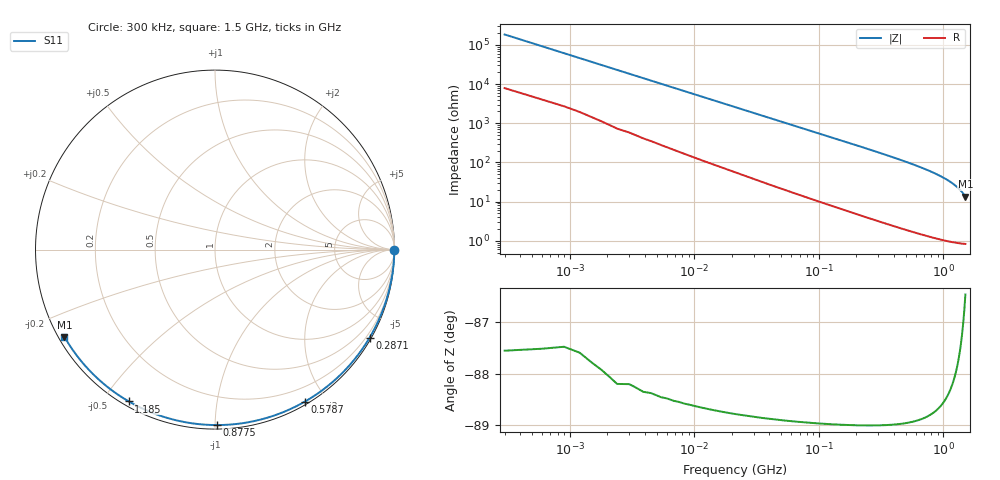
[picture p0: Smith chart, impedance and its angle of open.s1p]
! TOUCHSTONE file generated by CST MICROWAVE STUDIO
! Date and time: Sun Oct 12 17:58:32 2025
! Project name: calkit_sim.cst
! Parameters = {Rgap=0.9; ceq=6.5e-14; cu_t=0.035; dut_x=83.3333; k=7.07; leq=1.1e-09; line_gap=0.9; line_w=2.5; match_x=66.6667; open_x=16.6667; pad_g=1; pad_x=1.45; pad_z=0.9; ref_1=23.3333; ref_2=16.6667; res_h=0.32; res_len=1; res_w=0.5; short_x=33.3333; sus_l=100; sus_t=1.6; sus_w=40; thru_x=50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
! Header version: 2015
! Port assignment regex: !\s*Touchstone port\s*([0-9]+)\s*=\s*CST MWS port\s*([0-9]+)\s*\(\"(.*)\"\)(\s*mode\s*([0-9]+))?.*
! Touchstone port assignment:
! Touchstone port 1 = CST MWS port 1 ("")
# GHz S DB R 50
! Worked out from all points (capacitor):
!   5000 points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, 300 kHz to 1.5 GHz, reference 50 ohm
!   read as one part to ground: C = 2.87 pF near 7.8 MHz
!   lowest |Z| = 13.5 ohm at 1.5 GHz (marker M1)
!   S11 on the Smith chart (normalised r, x): 300 kHz: open; 287.1 MHz: 0.07, -3.78; 578.7 MHz: 0.03, -1.75; 877.5 MHz: 0.02, -1.01; 1.185 GHz: 0.02, -0.58; 1.5 GHz: 0.02, -0.27
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0.0003  -0.00 -0.0
0.0072  -0.00 -0.7
0.0471  -0.01 -4.9
0.0936  -0.03 -9.7
0.1404  -0.04 -14.5
0.1878  -0.05 -19.4
0.237  -0.06 -24.5
0.2871  -0.07 -29.6
0.3753  -0.10 -38.7
0.471  -0.12 -48.4
0.5172  -0.13 -53.2
0.5628  -0.14 -57.8
0.5787  -0.14 -59.4
0.6651  -0.16 -68.1
0.7503  -0.17 -76.7
0.8139  -0.19 -83.1
0.8775  -0.20 -89.4
0.9378  -0.21 -95.4
0.984  -0.21 -100.0
1.0305  -0.22 -104.5
1.0776  -0.23 -109.2
1.1253  -0.23 -113.8
1.1847  -0.24 -119.6
1.248  -0.25 -125.7
1.3128  -0.25 -132.0
1.4118  -0.26 -141.5
1.4637  -0.27 -146.5
1.5  -0.27 -149.9
